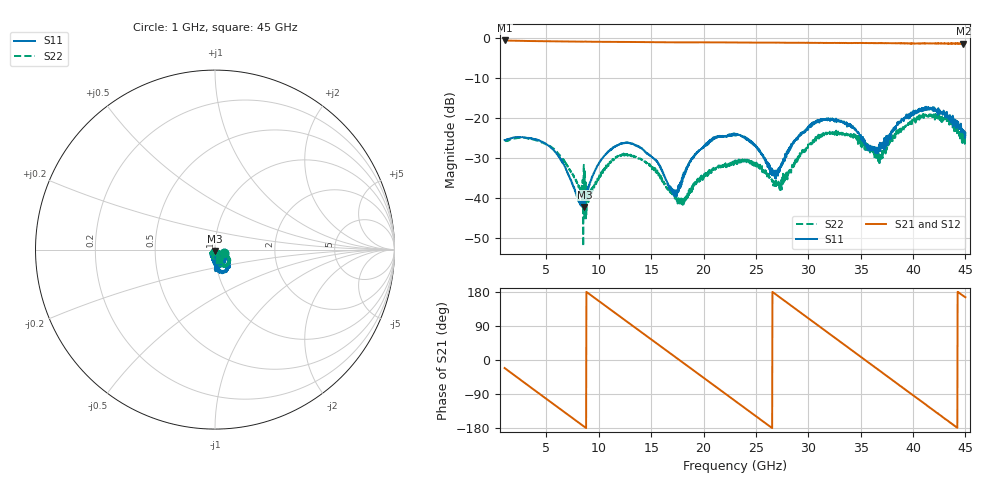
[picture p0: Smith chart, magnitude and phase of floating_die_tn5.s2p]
!Keysight Technologies,N5247B,MY61255062,A.19.80.06
!Date: Thursday, May 21, 2026 11:48:44
!Correction: S11(Cdelta 2-Port  )
!S21(Cdelta 2-Port  )
!S12(Cdelta 2-Port  )
!S22(Cdelta 2-Port  )
!S2P File: Measurements: S11, S21, S12, S22:
# Hz S  dB  R 50
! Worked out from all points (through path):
!   1601 points, 1 GHz to 45 GHz, reference 50 ohm
!   highest |S21| = -0.49 dB at 1 GHz (marker M1); lowest = -1.3 dB at 44.81 GHz (marker M2)
!   group delay of S21, straight-line fit = 56.4 ps
!   lowest |S11| = -42.2 dB at 8.617 GHz (marker M3), VSWR 1.02, Z = 50.2 - j0.764 ohm
!   |S11| at or under -10 dB: start of sweep to end of sweep
!   |S22| runs from -52.0 to -18.9 dB; largest |S21 - S12| = 0.015
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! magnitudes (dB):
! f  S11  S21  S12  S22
! 1 GHz  -25.4  -0.5  -0.5  -25.5
! 5.345 GHz  -27.2  -0.7  -0.7  -27.0
! 8.342 GHz  -40.9  -0.8  -0.8  -38.2
! 8.617 GHz  -42.2  -0.8  -0.8  -44.5
! 10.07 GHz  -31.0  -0.8  -0.8  -34.4
! 11.92 GHz  -26.6  -0.9  -0.9  -29.3
! 13.65 GHz  -27.0  -0.9  -0.9  -29.8
! 15.69 GHz  -31.2  -0.9  -0.9  -33.9
! 17.31 GHz  -38.1  -1.0  -1.0  -39.7
! 18.11 GHz  -33.6  -1.0  -1.0  -40.2
! 19.4 GHz  -28.6  -1.0  -1.0  -36.2
! 23 GHz  -24.0  -1.0  -1.0  -30.5
! 24.84 GHz  -26.8  -1.0  -1.0  -31.1
! 26.77 GHz  -33.4  -1.0  -1.0  -36.3
! 27.34 GHz  -31.9  -1.0  -1.1  -35.9
! 30.34 GHz  -21.9  -1.1  -1.1  -25.8
! 33.97 GHz  -21.9  -1.1  -1.2  -24.0
! 36.48 GHz  -27.4  -1.2  -1.1  -30.2
! 37.69 GHz  -25.2  -1.2  -1.2  -26.6
! 41.29 GHz  -17.7  -1.2  -1.3  -19.2
! 44.81 GHz  -23.2  -1.3  -1.3  -23.4
! 45 GHz  -23.7  -1.2  -1.2  -24.4
